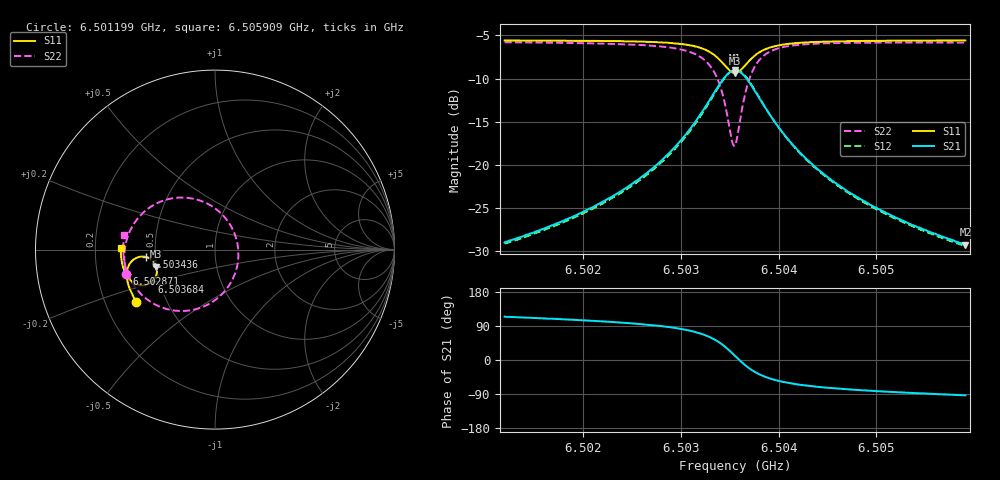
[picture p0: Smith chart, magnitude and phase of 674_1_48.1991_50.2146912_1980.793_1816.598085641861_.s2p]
#  HZ  S  RI  R  50.00
! Rohde & Schwarz Vector Network Analyzer
! Rohde-Schwarz,ZNB20-2Port,1311601062101988,3.16
! Created: UTC 3/20/2024, 12:06:15 PM
! freq[Hz]  re:S11  im:S11  re:S21  im:S21  re:S12  im:S12  re:S22  im:S22
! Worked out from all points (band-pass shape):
!   401 points, 6.501199 GHz to 6.505909 GHz, reference 50 ohm
!   highest |S21| = -9.03 dB at 6.503554 GHz (marker M1); lowest = -29.2 dB at 6.505909 GHz (marker M2)
!   |S21| within 3 dB of the highest: 6.503319 GHz to 6.503791 GHz (471.1 kHz wide, 0.00724 % of centre)
!   lowest |S11| = -9.3 dB at 6.503554 GHz (marker M3), VSWR 2.03, Z = 25 - j5.42 ohm
!   |S11| at or under -10 dB: nowhere
!   |S22| runs from -17.8 to -5.8 dB; largest |S21 - S12| = 0.014
!   S11 on the Smith chart (normalised r, x): 6.501199 GHz: 0.34, -0.27; 6.502871 GHz: 0.33, -0.12; 6.503436 GHz: 0.45, -0.04; 6.503684 GHz: 0.46, -0.19; 6.505909 GHz: 0.31, +0.01
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6.5011986e9  -0.4383 -0.2907  -0.0147 0.0324  -0.0127 0.0327  -0.4958 -0.1332
6.5019876e9  -0.4704 -0.2302  -0.0136 0.0513  -0.0109 0.0509  -0.5051 -0.0454
6.5024234e9  -0.4845 -0.1899  -0.0102 0.072  -0.00675 0.0706  -0.4996 0.0204
6.5027767e9  -0.4914 -0.1486  -0.00019 0.1031  0.0041 0.1004  -0.477 0.0965
6.5028709e9  -0.4917 -0.1352  0.00578 0.1158  0.0101 0.1123  -0.464 0.1233
6.5030711e9  -0.4855 -0.1007  0.0307 0.1523  0.0352 0.1471  -0.412 0.1942
6.5032125e9  -0.4689 -0.0704  0.0725 0.1872  0.076 0.1805  -0.3317 0.2541
6.503342e9  -0.4311 -0.0435  0.1527 0.2134  0.1542 0.2061  -0.1858 0.2901
6.5034362e9  -0.3827 -0.0416  0.2476 0.1957  0.2483 0.1898  -0.0216 0.2446
6.5035187e9  -0.3382 -0.0726  0.3286 0.118  0.3316 0.1121  0.1082 0.091
6.503554e9  -0.3271 -0.0959  0.3471 0.0672  0.3509 0.0601  0.1297 -0.00463
6.5035776e9  -0.324 -0.1129  0.3504 0.0311  0.3547 0.0224  0.1274 -0.0711
6.5036129e9  -0.3263 -0.1381  0.3424 -0.0213  0.3462 -0.032  0.0988 -0.164
6.5036836e9  -0.3498 -0.1772  0.2936 -0.1009  0.2932 -0.1143  -0.0167 -0.2931
6.5037307e9  -0.3711 -0.1914  0.2518 -0.1308  0.248 -0.1437  -0.1046 -0.3316
6.5037895e9  -0.3971 -0.1983  0.2026 -0.1478  0.1961 -0.159  -0.2015 -0.3415
6.5039426e9  -0.4462 -0.1889  0.1149 -0.1433  0.1066 -0.1492  -0.3592 -0.2907
6.5041075e9  -0.4749 -0.1673  0.0675 -0.121  0.0601 -0.1237  -0.4358 -0.2215
6.5043431e9  -0.496 -0.1375  0.0358 -0.0944  0.0301 -0.0951  -0.4812 -0.1459
6.5047082e9  -0.5119 -0.0977  0.0154 -0.0684  0.0115 -0.0682  -0.5048 -0.067
6.5051321e9  -0.5208 -0.0574  0.00535 -0.0514  0.00276 -0.0507  -0.5112 -0.0032
6.5059094e9  -0.5258 0.00943  -0.00203 -0.0346  -0.00346 -0.0337  -0.5047 0.0829
